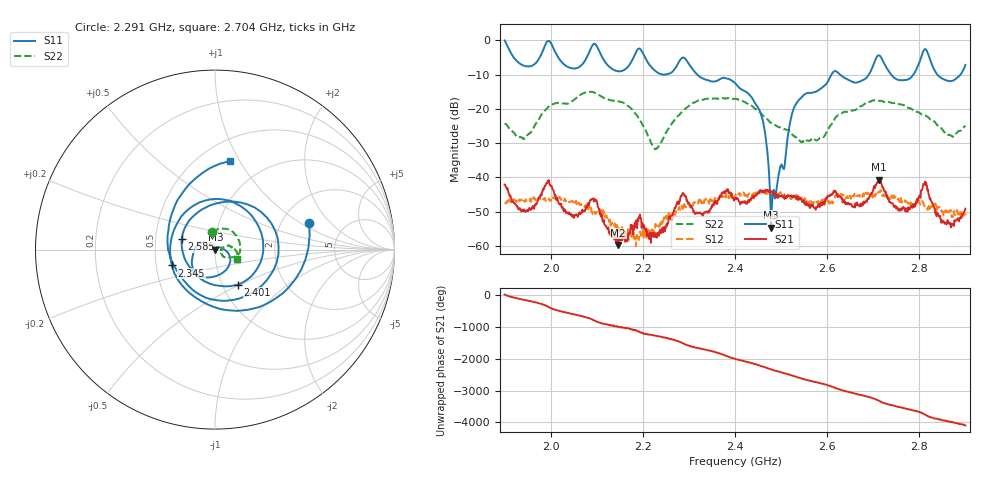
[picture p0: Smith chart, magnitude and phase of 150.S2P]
! C:\Users\rflab\Downloads\Lab5_KD_ZW\150.S2P
! Touchstone 1.1 file saved by VNA.EXE V1.65 (www.ke5fx.com/gpib/readme.htm)
! 11/12/2024 12:14:11 AM
!  Source: HEWLETT PACKARD,8753D,0,6.14
!  Min freq: 1.900000E+009 Hz
!  Max freq: 2.900000E+009 Hz
!  Points: 801
!  Params: S11 S21 S12 S22
# GHZ S RI R 50
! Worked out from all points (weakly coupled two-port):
!   801 points, 1.9 GHz to 2.9 GHz, reference 50 ohm
!   highest |S21| = -40.63 dB at 2.712 GHz (marker M1); lowest = -59.7 dB at 2.146 GHz (marker M2)
!   lowest |S11| = -54.6 dB at 2.479 GHz (marker M3), VSWR 1.00, Z = 50.2 - j0.0243 ohm
!   |S11| at or under -10 dB: 2.318 GHz to 2.609 GHz (291.3 MHz wide, 11.8 % of centre); 2.628 GHz to 2.69 GHz (62.6 MHz wide, 2.35 % of centre); 2.839 GHz to 2.889 GHz (50.16 MHz wide, 1.75 % of centre) (the widest 3 of 5)
!   |S22| runs from -31.8 to -15.0 dB; largest |S21 - S12| = 0.0049
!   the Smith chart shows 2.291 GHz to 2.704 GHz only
!   S11 on the Smith chart (normalised r, x): 2.291 GHz: 2.82, +1.21; 2.345 GHz: 0.60, -0.11; 2.401 GHz: 1.18, -0.49; 2.585 GHz: 0.68, +0.09; 2.704 GHz: 0.69, +0.91
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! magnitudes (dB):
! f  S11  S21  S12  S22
! 1.9 GHz  -0.1  -42.1  -47.3  -24.3
! 1.944 GHz  -7.5  -49.7  -47.0  -28.6
! 1.995 GHz  -0.2  -41.3  -46.6  -19.4
! 2.067 GHz  -7.2  -50.2  -47.9  -15.7
! 2.095 GHz  -1.0  -46.2  -49.9  -15.3
! 2.146 GHz  -9.0  -59.7  -54.1  -17.8
! 2.192 GHz  -2.4  -51.6  -56.5  -23.0
! 2.234 GHz  -9.6  -56.0  -54.0  -31.0
! 2.291 GHz  -5.3  -45.2  -48.4  -20.0
! 2.345 GHz  -11.8  -49.8  -46.0  -17.1
! 2.4 GHz  -12.5  -46.4  -45.4  -17.0
! 2.401 GHz  -12.6  -46.0  -45.2  -17.1
! 2.456 GHz  -21.5  -44.1  -44.2  -21.3
! 2.479 GHz  -54.6  -44.1  -45.1  -24.2
! 2.527 GHz  -19.9  -45.7  -45.5  -27.9
! 2.567 GHz  -15.3  -48.1  -47.5  -28.6
! 2.585 GHz  -14.2  -47.8  -46.9  -28.4
! 2.704 GHz  -6.0  -43.1  -45.5  -17.5
! 2.712 GHz  -4.4  -40.6  -44.1  -17.7
! 2.734 GHz  -9.1  -46.5  -46.1  -18.0
! 2.812 GHz  -2.6  -41.2  -48.1  -22.0
! 2.9 GHz  -7.2  -49.1  -50.9  -24.9
